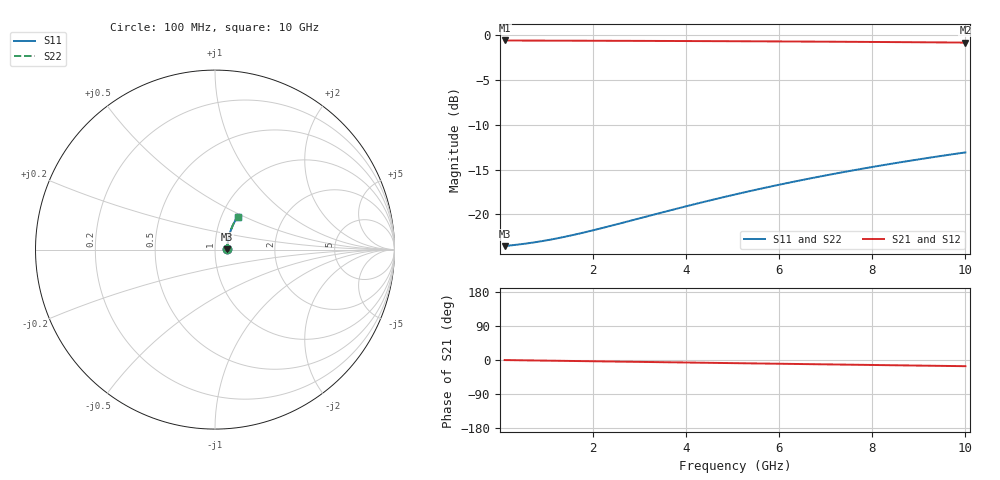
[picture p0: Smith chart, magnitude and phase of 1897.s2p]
# Hz S RI R 50.00
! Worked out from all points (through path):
!   100 points, 100 MHz to 10 GHz, reference 50 ohm
!   highest |S21| = -0.60 dB at 100 MHz (marker M1); lowest = -0.8 dB at 10 GHz (marker M2)
!   group delay of S21, straight-line fit = 4.54 ps
!   lowest |S11| = -23.5 dB at 100 MHz (marker M3), VSWR 1.14, Z = 57.1 + j0.228 ohm
!   |S11| at or under -10 dB: start of sweep to end of sweep
!   |S22| runs from -23.5 to -13.1 dB; largest |S21 - S12| = 0
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1e8  0.0665 0.00198  0.9335 -0.00271  0.9335 -0.00271  0.0665 0.00198
6e8  0.068 0.0119  0.932 -0.0162  0.932 -0.0162  0.068 0.0119
9e8  0.0687 0.0178  0.9313 -0.0243  0.9313 -0.0243  0.0687 0.0178
1.1e9  0.0691 0.0217  0.9308 -0.0296  0.9308 -0.0296  0.0691 0.0217
1.3e9  0.0696 0.0256  0.9304 -0.035  0.9304 -0.035  0.0696 0.0256
1.5e9  0.0701 0.0295  0.9298 -0.0404  0.9298 -0.0404  0.0701 0.0295
1.8e9  0.0709 0.0354  0.929 -0.0484  0.929 -0.0484  0.0709 0.0354
2.4e9  0.0727 0.047  0.9271 -0.0644  0.9271 -0.0644  0.0727 0.047
3.4e9  0.0764 0.0663  0.9232 -0.0909  0.9232 -0.0909  0.0764 0.0663
3.9e9  0.0787 0.0758  0.9209 -0.104  0.9209 -0.104  0.0787 0.0758
4.3e9  0.0807 0.0834  0.9188 -0.1145  0.9188 -0.1145  0.0807 0.0834
4.7e9  0.0828 0.0909  0.9166 -0.1249  0.9166 -0.1249  0.0828 0.0909
5.1e9  0.0851 0.0983  0.9142 -0.1352  0.9142 -0.1352  0.0851 0.0983
5.5e9  0.0876 0.1057  0.9116 -0.1455  0.9116 -0.1455  0.0876 0.1057
5.9e9  0.0902 0.113  0.9089 -0.1557  0.9089 -0.1557  0.0902 0.113
6.3e9  0.0929 0.1202  0.906 -0.1658  0.906 -0.1658  0.0929 0.1202
6.7e9  0.0959 0.1273  0.9029 -0.1759  0.9029 -0.1759  0.0959 0.1273
7.5e9  0.1022 0.1414  0.8963 -0.1957  0.8963 -0.1957  0.1022 0.1414
7.9e9  0.1055 0.1482  0.8927 -0.2055  0.8927 -0.2055  0.1055 0.1482
8.4e9  0.1099 0.1567  0.8881 -0.2176  0.8881 -0.2176  0.1099 0.1567
9.2e9  0.1174 0.1699  0.8802 -0.2367  0.8802 -0.2367  0.1174 0.1699
1e10  0.1255 0.1827  0.8717 -0.2553  0.8717 -0.2553  0.1255 0.1827
